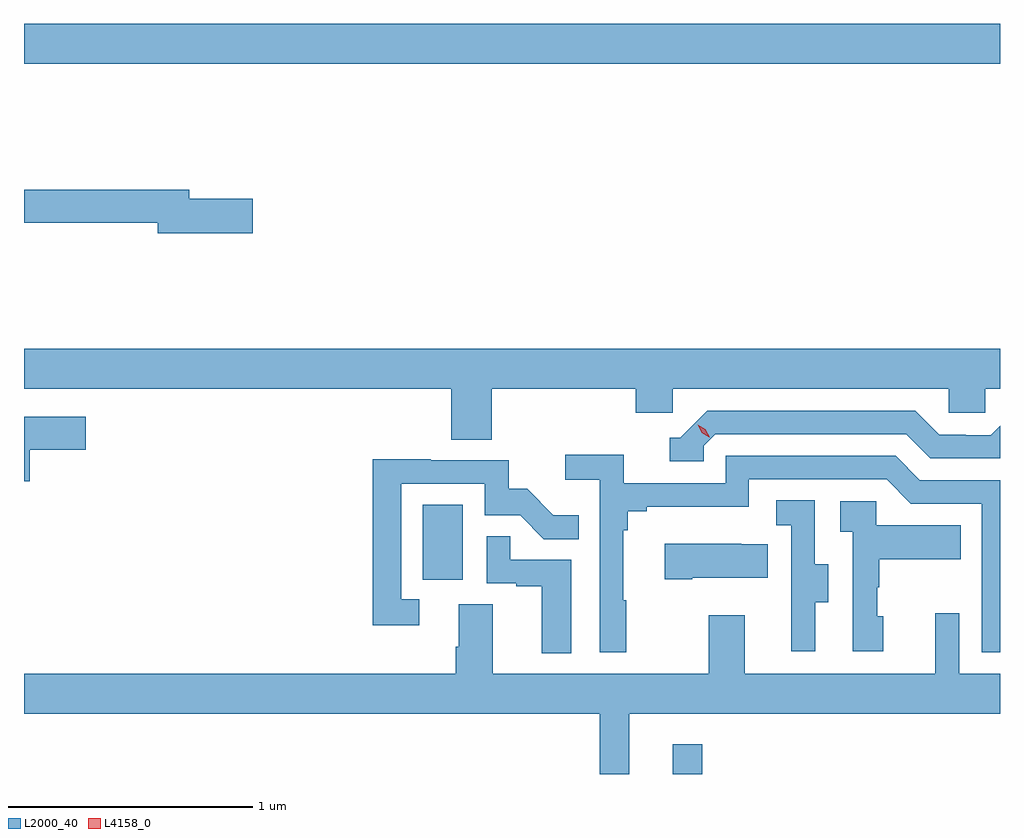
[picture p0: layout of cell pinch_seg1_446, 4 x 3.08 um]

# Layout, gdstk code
import gdstk
lib = gdstk.Library(unit=1e-6, precision=1e-09)
def R(c, l, rs):  # rectangles x0, y0, x1, y1
    for r in rs: c.add(gdstk.rectangle(r[:2], r[2:], *l))
def P(c, l, *ps):  # polygons
    for p in ps: c.add(gdstk.Polygon(p, *l))
L2000_40 = (2000, 40)
L4158_0 = (4158, 0)

pinch_seg1_446 = lib.new_cell('pinch_seg1_446')
R(pinch_seg1_446, L2000_40, [(952.667,515.521,952.789,515.644), (951.644,516.318,951.808,516.625), (950.009,518.432,954.009,518.596)])
P(pinch_seg1_446, L2000_40, [(950.947,517.88),(950.686,517.88),(950.686,517.916),(950.009,517.916),(950.009,517.78),(950.558,517.78),(950.558,517.738),(950.947,517.738)],
  [(951.926,517.1),(952.517,517.1),(952.517,517.002),(952.668,517.002),(952.668,517.1),(953.799,517.1),(953.799,517.002),(953.949,517.002),(953.949,517.1),(954.009,517.1),(954.009,517.264),(950.009,517.264),(950.009,517.1),(951.761,517.1),(951.761,516.892),(951.926,516.892)],
  [(952.794,516.867),(952.842,516.915),(953.625,516.915),(953.724,516.816),(954.009,516.816),(954.009,516.948),(953.971,516.909),(953.868,516.909),(953.868,516.912),(953.761,516.912),(953.662,517.011),(952.809,517.011),(952.698,516.9),(952.655,516.9),(952.655,516.804),(952.794,516.804)],
  [(950.032,516.851),(950.263,516.851),(950.263,516.985),(950.009,516.985),(950.009,516.722),(950.032,516.722)],
  [(952.477,516.233),(952.465,516.233),(952.465,516.521),(952.484,516.521),(952.484,516.598),(952.561,516.598),(952.561,516.617),(952.98,516.617),(952.98,516.729),(953.544,516.729),(953.643,516.63),(953.934,516.63),(953.934,516.021),(954.009,516.021),(954.009,516.726),(953.68,516.726),(953.581,516.825),(952.884,516.825),(952.884,516.714),(952.466,516.714),(952.466,516.83),(952.227,516.83),(952.227,516.728),(952.368,516.728),(952.368,516.02),(952.477,516.02)],
  [(951.628,516.237),(951.555,516.237),(951.555,516.711),(951.897,516.711),(951.897,516.582),(952.042,516.582),(952.14,516.484),(952.283,516.484),(952.283,516.583),(952.179,516.583),(952.072,516.69),(951.996,516.69),(951.996,516.807),(951.677,516.807),(951.677,516.812),(951.439,516.812),(951.439,516.132),(951.628,516.132)],
  [(953.251,516.226),(953.305,516.226),(953.305,516.381),(953.25,516.381),(953.25,516.644),(953.091,516.644),(953.091,516.541),(953.154,516.541),(953.154,516.237),(953.153,516.237),(953.153,516.024),(953.251,516.024)],
  [(953.53,516.168),(953.505,516.168),(953.505,516.287),(953.515,516.287),(953.515,516.401),(953.849,516.401),(953.849,516.541),(953.502,516.541),(953.502,516.639),(953.355,516.639),(953.355,516.515),(953.406,516.515),(953.406,516.024),(953.53,516.024)],
  [(952.252,516.399),(952.001,516.399),(952.001,516.497),(951.906,516.497),(951.906,516.303),(952.027,516.303),(952.027,516.291),(952.13,516.291),(952.13,516.017),(952.252,516.017)],
  [(952.747,516.326),(953.057,516.326),(953.057,516.463),(952.949,516.463),(952.949,516.466),(952.635,516.466),(952.635,516.319),(952.747,516.319)],
  [(952.489,515.768),(954.009,515.768),(954.009,515.932),(953.841,515.932),(953.841,516.181),(953.744,516.181),(953.744,515.932),(952.963,515.932),(952.963,516.172),(952.816,516.172),(952.816,515.932),(951.931,515.932),(951.931,516.218),(951.791,516.218),(951.791,516.044),(951.779,516.044),(951.779,515.932),(950.009,515.932),(950.009,515.768),(952.368,515.768),(952.368,515.521),(952.489,515.521)])
P(pinch_seg1_446, L4158_0, [(952.818,516.901),(952.787,516.92),(952.77,516.953),(952.77,516.953),(952.771,516.953),(952.802,516.934),(952.819,516.902),(952.819,516.901)])

lib.write_gds('pinch_seg1_446.gds')
